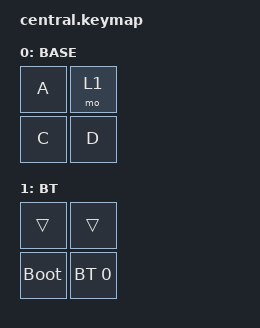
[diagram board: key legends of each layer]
#include <behaviors.dtsi>
#include <dt-bindings/zmk/keys.h>
#include <dt-bindings/zmk/bt.h>

/ {
    keymap {
        compatible = "zmk,keymap";

        default_layer {
            label = "BASE";
            bindings = <
                &kp A     &mo 1
                &kp C     &kp D
            >;
        };

        bt_layer {
            label = "BT";
            bindings = <
                &trans        &trans
                &bootloader   &bt BT_SEL 0
            >;
        };
    };
};
